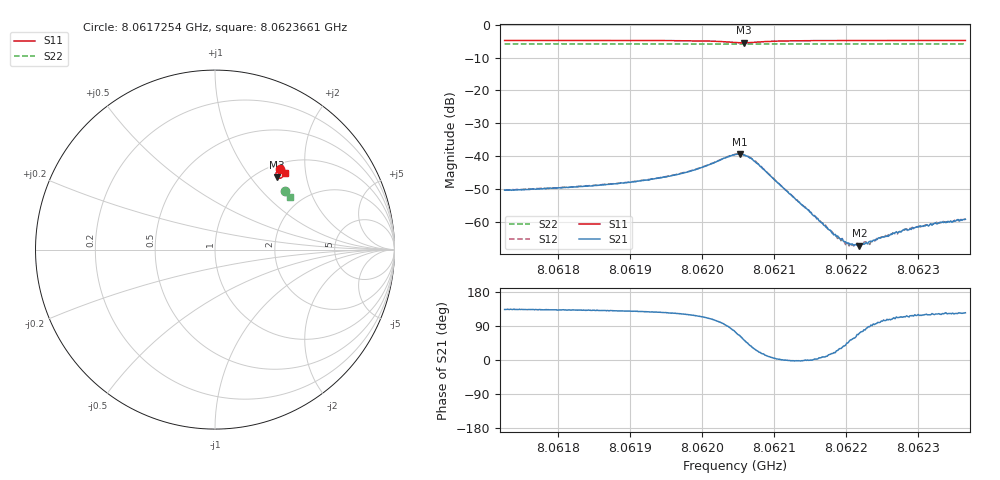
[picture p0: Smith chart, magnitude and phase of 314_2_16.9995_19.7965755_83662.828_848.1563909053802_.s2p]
#  HZ  S  RI  R  50.00
! Rohde & Schwarz Vector Network Analyzer
! Rohde-Schwarz,ZNB20-2Port,1311601062101988,3.16
! Created: UTC 3/20/2024, 11:06:08 PM
! freq[Hz]  re:S11  im:S11  re:S21  im:S21  re:S12  im:S12  re:S22  im:S22
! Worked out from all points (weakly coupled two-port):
!   401 points, 8.0617254 GHz to 8.0623661 GHz, reference 50 ohm
!   highest |S21| = -39.39 dB at 8.0620522 GHz (marker M1); lowest = -67.3 dB at 8.0622187 GHz (marker M2)
!   lowest |S11| = -5.5 dB at 8.0620586 GHz (marker M3), VSWR 3.26, Z = 60.7 + j68.1 ohm
!   |S11| at or under -10 dB: nowhere
!   |S22| runs from -5.9 to -5.8 dB; largest |S21 - S12| = 0.0009
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8.06172542e9  0.3599 0.4496  -0.00209 0.00221  -0.00199 0.00232  0.3926 0.3269
8.06183273e9  0.3674 0.4432  -0.0023 0.00258  -0.00215 0.00274  0.3965 0.3214
8.0618968e9  0.3723 0.4383  -0.00251 0.0031  -0.00233 0.00326  0.3991 0.3183
8.06194004e9  0.3759 0.4335  -0.00273 0.00374  -0.00252 0.00393  0.4006 0.3159
8.0619913e9  0.3803 0.4232  -0.00284 0.00558  -0.00251 0.00578  0.4025 0.3131
8.06204576e9  0.3609 0.3974  0.00279 0.0102  0.0035 0.0101  0.4032 0.3096
8.06205216e9  0.3524 0.3985  0.00456 0.00971  0.00535 0.0094  0.403 0.3094
8.06205857e9  0.3447 0.4034  0.0063 0.00818  0.00688 0.00786  0.4029 0.3095
8.06207459e9  0.339 0.4228  0.00721 0.00364  0.00763 0.00332  0.4035 0.3098
8.06215307e9  0.3679 0.4385  0.00129 -6.96e-06  0.00131 -7.03e-05  0.4078 0.3064
8.0621835e9  0.3726 0.4366  0.000594 0.000213  0.000626 0.00018  0.4091 0.3048
8.06219632e9  0.3742 0.4356  0.000411 0.000303  0.00046 0.000243  0.4095 0.3041
8.06220753e9  0.3755 0.435  0.000273 0.000368  0.000261 0.000352  0.4098 0.3036
8.06221874e9  0.3768 0.4342  0.000142 0.00041  0.000148 0.000411  0.4104 0.3029
8.06222515e9  0.3774 0.4339  8.17e-05 0.000449  0.000152 0.000465  0.4106 0.3025
8.06223476e9  0.3782 0.4334  -1.86e-05 0.000508  2.64e-05 0.000504  0.411 0.3021
8.06225077e9  0.3799 0.4322  -0.000127 0.000578  -9.3e-05 0.000584  0.4117 0.3013
8.06226038e9  0.3806 0.4317  -0.000185 0.00059  -0.000154 0.000622  0.4118 0.3008
8.06228121e9  0.3824 0.4304  -0.000317 0.0007  -0.000269 0.000698  0.4125 0.2998
8.06230043e9  0.3838 0.4295  -0.000418 0.00072  -0.000373 0.000765  0.4133 0.2988
8.06233566e9  0.3864 0.4274  -0.000518 0.000824  -0.000472 0.000895  0.4145 0.297
8.0623661e9  0.3884 0.4257  -0.000623 0.0009  -0.000551 0.00094  0.4155 0.2953
